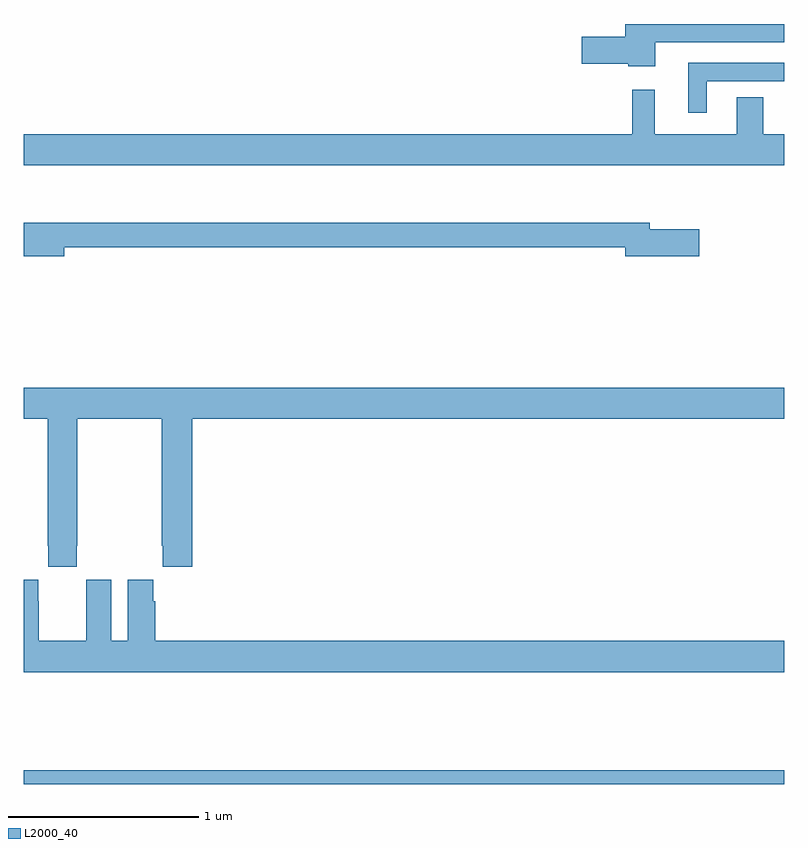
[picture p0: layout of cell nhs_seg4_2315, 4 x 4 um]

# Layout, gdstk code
import gdstk
lib = gdstk.Library(unit=1e-6, precision=1e-09)
def R(c, l, rs):  # rectangles x0, y0, x1, y1
    for r in rs: c.add(gdstk.rectangle(r[:2], r[2:], *l))
def P(c, l, *ps):  # polygons
    for p in ps: c.add(gdstk.Polygon(p, *l))
L2000_40 = (2000, 40)

nhs_seg4_2315 = lib.new_cell('nhs_seg4_2315')
R(nhs_seg4_2315, L2000_40, [(231,794.9,235,794.972)])
P(nhs_seg4_2315, L2000_40, [(234.322,798.798),(235,798.798),(235,798.895),(234.164,798.895),(234.164,798.827),(233.934,798.827),(233.934,798.685),(234.18,798.685),(234.18,798.674),(234.322,798.674)],
  [(234.592,798.594),(235,798.594),(235,798.69),(234.494,798.69),(234.494,798.429),(234.592,798.429)],
  [(235,798.316),(234.889,798.316),(234.889,798.509),(234.749,798.509),(234.749,798.316),(234.317,798.316),(234.317,798.55),(234.199,798.55),(234.199,798.316),(231,798.316),(231,798.152),(235,798.152)],
  [(231.214,797.722),(234.164,797.722),(234.164,797.675),(234.553,797.675),(234.553,797.817),(234.292,797.817),(234.292,797.851),(231,797.851),(231,797.675),(231.214,797.675)],
  [(231.279,796.153),(231.282,796.153),(231.282,796.82),(231.727,796.82),(231.727,796.153),(231.733,796.153),(231.733,796.041),(231.887,796.041),(231.887,796.82),(235,796.82),(235,796.984),(231,796.984),(231,796.82),(231.127,796.82),(231.127,796.153),(231.129,796.153),(231.129,796.041),(231.279,796.041)],
  [(235,795.652),(231.692,795.652),(231.692,795.86),(231.682,795.86),(231.682,795.973),(231.548,795.973),(231.548,795.652),(231.46,795.652),(231.46,795.973),(231.33,795.973),(231.33,795.86),(231.329,795.86),(231.329,795.652),(231.079,795.652),(231.079,795.86),(231.078,795.86),(231.078,795.973),(231,795.973),(231,795.488),(235,795.488)])

lib.write_gds('nhs_seg4_2315.gds')
